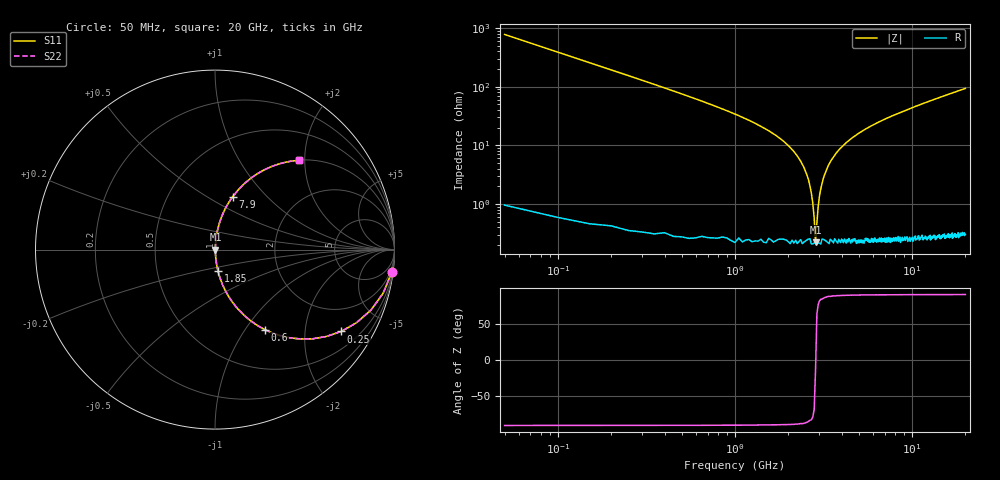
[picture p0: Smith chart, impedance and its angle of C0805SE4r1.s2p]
! AVX Thin Film Operation		Date: April 2012
! Description: Accu-P® Series, Thin Film, SMD, RF Capacitor
! Part Number: 08051J4R1ABTTR
!	50	MHz	-	20.05	GHz
!	Serial	Measurements
#	MHZ	S	MA	R	50
!	S11	S21	S12	S22
!	dB	Phase	dB	Phase	dB	Phase	dB	Phase
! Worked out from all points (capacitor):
!   400 points, 50 MHz to 20 GHz, reference 50 ohm
!   read as one part in series: C = 4.1 pF near 150 MHz
!   lowest |Z| = 223 mohm at 2.85 GHz (marker M1)
!   series resonance near 2.856 GHz, so ESL is about 760 pH
!   S11 on the Smith chart (normalised r, x): 50 MHz: 1, -16; 250 MHz: 1.01, -3.08; 600 MHz: 1.01, -1.24; 1.85 GHz: 1.00, -0.24; 7.9 GHz: 1.01, +0.65; 20 GHz: 1.01, +1.87
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50  0.992 -7.3  0.128 82.6  0.128 82.6  0.992 -7.3
150  0.932 -21.2  0.361 68.7  0.361 68.7  0.932 -21.2
250  0.838 -32.9  0.544 56.9  0.544 56.9  0.838 -32.9
600  0.525 -58.1  0.849 31.7  0.849 31.7  0.525 -58.1
1050  0.304 -71.9  0.95 17.7  0.95 17.7  0.304 -71.9
1850  0.121 -82.0  0.99 6.9  0.99 6.9  0.121 -82.0
2300  0.059 -84.4  0.996 3.4  0.996 3.4  0.059 -84.4
2600  0.026 -83.3  0.997 1.5  0.997 1.5  0.026 -83.3
2750  0.01 -76.6  0.998 0.6  0.998 0.6  0.01 -76.6
2800  0.005815 -66.2  0.998 0.3  0.998 0.3  0.005815 -66.2
2850  0.002378 -12.9  0.998 0.0  0.998 0.0  0.002378 -12.9
2950  0.009123 74.8  0.998 -0.5  0.998 -0.5  0.009123 74.8
3000  0.014 79.4  0.998 -0.8  0.998 -0.8  0.014 79.4
3150  0.027 83.5  0.997 -1.5  0.997 -1.5  0.027 83.5
3400  0.048 84.5  0.997 -2.7  0.997 -2.7  0.048 84.5
4500  0.127 81.7  0.99 -7.3  0.99 -7.3  0.127 81.7
6700  0.252 74.9  0.965 -14.6  0.965 -14.6  0.252 74.9
7900  0.31 71.5  0.948 -18.1  0.948 -18.1  0.31 71.5
10050  0.402 66.0  0.913 -23.7  0.913 -23.7  0.402 66.0
13350  0.518 58.6  0.853 -31.2  0.853 -31.2  0.518 58.6
16700  0.61 52.2  0.79 -37.6  0.79 -37.6  0.61 52.2
20000  0.681 46.9  0.73 -42.9  0.73 -42.9  0.681 46.9
